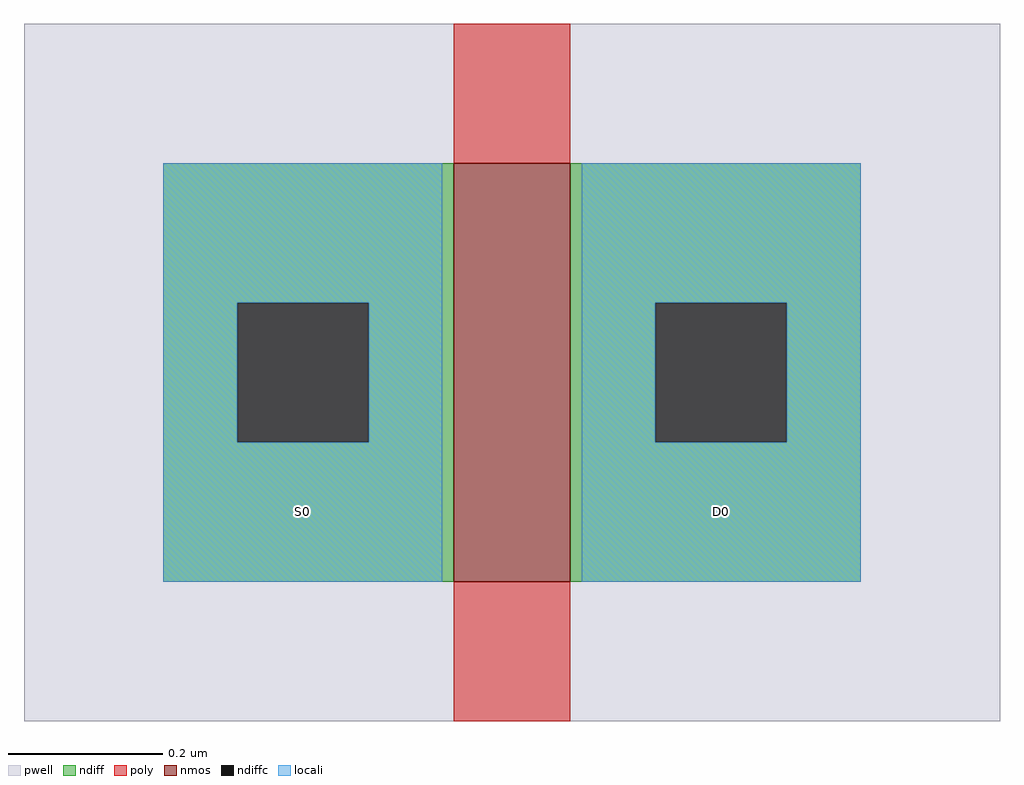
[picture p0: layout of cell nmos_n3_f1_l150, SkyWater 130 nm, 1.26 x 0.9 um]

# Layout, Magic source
magic
tech sky130A
magscale 1 2
<< pwell >>
rect -72 -36 180 144
<< nmos >>
rect 39 0 69 108
<< ndiff >>
rect -36 72 39 108
rect -36 36 -17 72
rect 17 36 39 72
rect -36 0 39 36
rect 69 72 144 108
rect 69 36 91 72
rect 125 36 144 72
rect 69 0 144 36
<< ndiffc >>
rect -17 36 17 72
rect 91 36 125 72
<< poly >>
rect 39 108 69 144
rect 39 -36 69 0
<< locali >>
rect -36 72 36 108
rect -36 36 -17 72
rect 17 36 36 72
rect -36 0 36 36
rect 72 72 144 108
rect 72 36 91 72
rect 125 36 144 72
rect 72 0 144 36
<< labels >>
rlabel locali 0 18 0 18 0 S0
port 1 nsew
rlabel locali 108 18 108 18 0 D0
port 2 nsew
<< properties >>
string gencell nmos
string library efx
string parameters n 3 fingers 1 length 0.15 butted 0 ltap 0 rtap 0 vt std tgate 0 bgate 0
<< end >>
